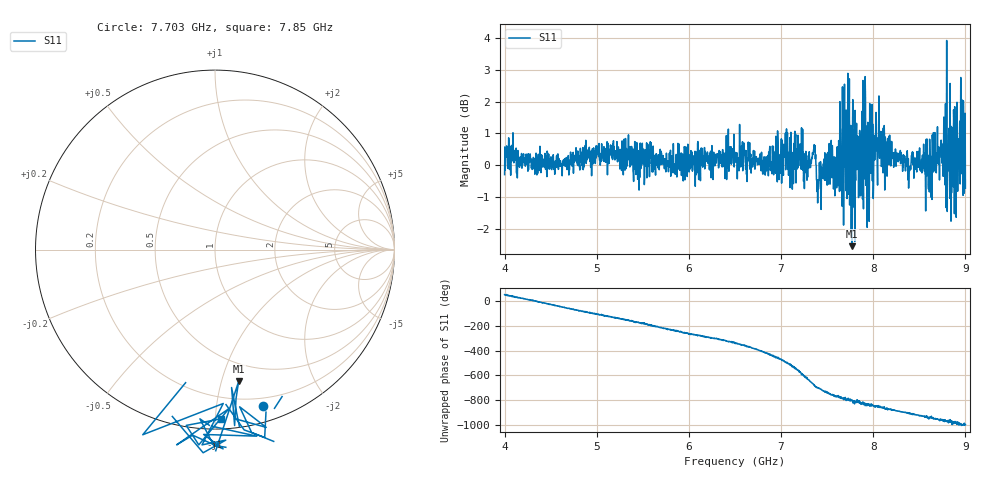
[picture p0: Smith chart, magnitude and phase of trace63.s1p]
! Created with skrf 1.8.0 (http://scikit-rf.org).
# Hz S RI R 50.0
!freq ReS11 ImS11
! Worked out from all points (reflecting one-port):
!   1601 points, 4 GHz to 9 GHz, reference 50 ohm
!   lowest |S11| = -2.5 dB at 7.772 GHz (marker M1), VSWR 6.88, Z = 17.1 - j56.8 ohm
!   phase of S11 starts at 51 deg and turns -1049 deg over the sweep
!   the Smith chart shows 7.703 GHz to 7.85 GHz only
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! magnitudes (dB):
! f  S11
! 4 GHz  -0.3
! 4.066 GHz  -0.3
! 4.625 GHz  -0.3
! 5.25 GHz  -0.1
! 5.875 GHz  0.2
! 6.5 GHz  0.4
! 6.806 GHz  -0.1
! 7.125 GHz  0.1
! 7.209 GHz  0.4
! 7.269 GHz  0.4
! 7.356 GHz  0.5
! 7.409 GHz  -0.7
! 7.541 GHz  0.2
! 7.594 GHz  -0.6
! 7.662 GHz  -1.3
! 7.731 GHz  -0.5
! 7.75 GHz  0.7
! 7.772 GHz  -2.5
! 7.788 GHz  0.5
! 7.8 GHz  -2.4
! 7.881 GHz  0.8
! 7.891 GHz  -0.5
! 7.981 GHz  0.4
! 8.038 GHz  0.5
! 8.375 GHz  -0.2
! 8.906 GHz  0.9
! 8.959 GHz  2.1
! 9 GHz  -0.7
